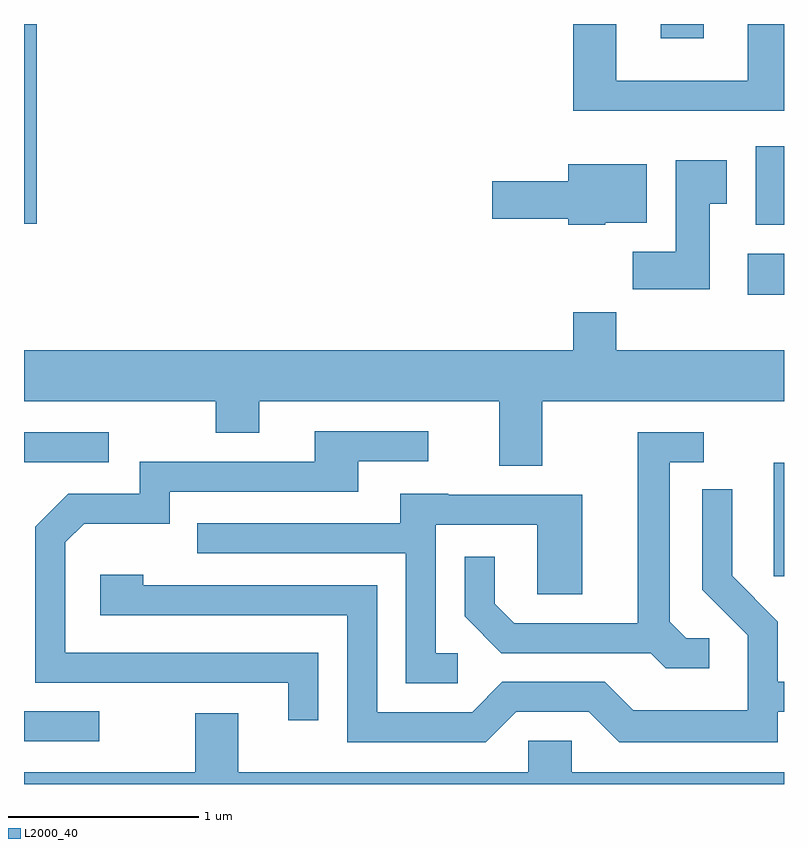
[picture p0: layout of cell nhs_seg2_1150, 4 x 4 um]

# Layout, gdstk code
import gdstk
lib = gdstk.Library(unit=1e-6, precision=1e-09)
def R(c, l, rs):  # rectangles x0, y0, x1, y1
    for r in rs: c.add(gdstk.rectangle(r[:2], r[2:], *l))
def P(c, l, *ps):  # polygons
    for p in ps: c.add(gdstk.Polygon(p, *l))
L2000_40 = (2000, 40)

nhs_seg2_1150 = lib.new_cell('nhs_seg2_1150')
R(nhs_seg2_1150, L2000_40, [(217.611,1102.026,218.008,1102.184), (221.556,1102.896,221.611,1103.494), (221.421,1104.376,221.611,1104.594), (221.461,1104.746,221.611,1105.159), (217.611,1104.751,217.679,1105.802), (220.961,1105.726,221.189,1105.802)])
P(nhs_seg2_1150, L2000_40, [(221.611,1105.802),(221.421,1105.802),(221.421,1105.504),(220.729,1105.504),(220.729,1105.802),(220.501,1105.802),(220.501,1105.346),(221.611,1105.346)],
  [(221.219,1104.856),(221.309,1104.856),(221.309,1105.084),(221.041,1105.084),(221.041,1104.604),(220.816,1104.604),(220.816,1104.406),(221.219,1104.406)],
  [(220.67,1104.756),(220.889,1104.756),(220.889,1105.064),(220.476,1105.064),(220.476,1104.974),(220.076,1104.974),(220.076,1104.776),(220.476,1104.776),(220.476,1104.746),(220.67,1104.746)],
  [(220.339,1103.816),(221.611,1103.816),(221.611,1104.084),(220.729,1104.084),(220.729,1104.284),(220.501,1104.284),(220.501,1104.084),(217.611,1104.084),(217.611,1103.816),(218.621,1103.816),(218.621,1103.651),(218.849,1103.651),(218.849,1103.816),(220.111,1103.816),(220.111,1103.476),(220.339,1103.476)],
  [(219.159,1102.494),(217.829,1102.494),(217.829,1103.074),(217.927,1103.171),(218.379,1103.171),(218.379,1103.341),(219.369,1103.341),(219.369,1103.501),(219.738,1103.501),(219.738,1103.659),(219.141,1103.659),(219.141,1103.499),(218.221,1103.499),(218.221,1103.329),(217.844,1103.329),(217.671,1103.157),(217.671,1102.336),(219.001,1102.336),(219.001,1102.138),(219.159,1102.138)],
  [(221.218,1102.569),(221.097,1102.569),(221.009,1102.657),(221.009,1103.496),(221.188,1103.496),(221.188,1103.654),(220.841,1103.654),(220.841,1102.649),(220.192,1102.649),(220.089,1102.752),(220.089,1102.998),(219.931,1102.998),(219.931,1102.684),(220.124,1102.491),(220.909,1102.491),(220.989,1102.411),(221.218,1102.411)],
  [(217.612,1103.496),(218.058,1103.496),(218.058,1103.654),(217.611,1103.654),(217.611,1103.495)],
  [(220.202,1102.181),(220.584,1102.181),(220.744,1102.021),(221.579,1102.021),(221.579,1102.181),(221.611,1102.181),(221.611,1102.339),(221.579,1102.339),(221.579,1102.657),(221.339,1102.897),(221.339,1103.353),(221.181,1103.353),(221.181,1102.824),(221.421,1102.584),(221.421,1102.189),(220.817,1102.189),(220.667,1102.339),(220.129,1102.339),(219.969,1102.179),(219.469,1102.179),(219.469,1102.849),(218.239,1102.849),(218.239,1102.904),(218.011,1102.904),(218.011,1102.691),(219.311,1102.691),(219.311,1102.021),(220.042,1102.021)],
  [(219.893,1102.489),(219.779,1102.489),(219.779,1103.166),(220.311,1103.166),(220.311,1102.801),(220.549,1102.801),(220.549,1103.324),(219.845,1103.324),(219.845,1103.329),(219.591,1103.329),(219.591,1103.174),(218.523,1103.174),(218.523,1103.016),(219.621,1103.016),(219.621,1102.331),(219.893,1102.331)],
  [(221.611,1101.864),(220.494,1101.864),(220.494,1102.029),(220.266,1102.029),(220.266,1101.864),(218.739,1101.864),(218.739,1102.174),(218.511,1102.174),(218.511,1101.864),(217.611,1101.864),(217.611,1101.802),(221.611,1101.802)])

lib.write_gds('nhs_seg2_1150.gds')
